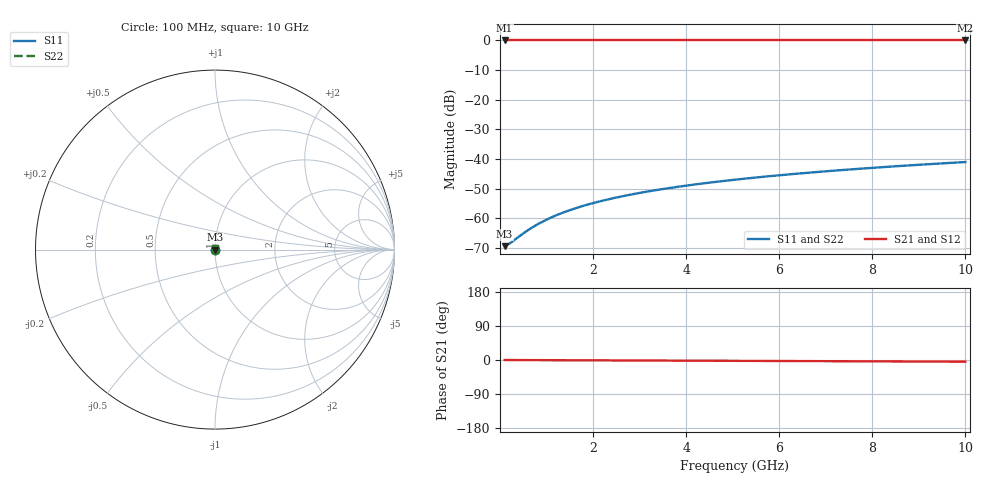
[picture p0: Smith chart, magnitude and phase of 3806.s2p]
# Hz S RI R 50.00
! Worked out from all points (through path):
!   100 points, 100 MHz to 10 GHz, reference 50 ohm
!   highest |S21| = 0.00 dB at 100 MHz (marker M1); lowest = 0.0 dB at 10 GHz (marker M2)
!   lowest |S11| = -69.4 dB at 100 MHz (marker M3), VSWR 1.00, Z = 50 + j0.00881 ohm
!   |S11| at or under -10 dB: start of sweep to end of sweep
!   |S22| runs from -69.4 to -41.0 dB; largest |S21 - S12| = 1e-15
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1e8  0.000325 8.81e-05  0.9997 -0.000768  0.9997 -0.000768  0.000325 8.81e-05
2e8  0.000327 0.000176  0.9997 -0.00154  0.9997 -0.00154  0.000327 0.000176
5e8  0.000332 0.00044  0.9997 -0.00384  0.9997 -0.00384  0.000332 0.00044
6e8  0.000333 0.000528  0.9997 -0.00461  0.9997 -0.00461  0.000333 0.000528
7e8  0.000335 0.000616  0.9996 -0.00537  0.9996 -0.00537  0.000335 0.000616
9e8  0.000338 0.000792  0.9996 -0.00691  0.9996 -0.00691  0.000338 0.000792
1.1e9  0.000341 0.000968  0.9996 -0.00845  0.9996 -0.00845  0.000341 0.000968
1.3e9  0.000345 0.00114  0.9996 -0.00998  0.9996 -0.00998  0.000345 0.00114
1.5e9  0.00035 0.00132  0.9996 -0.0115  0.9996 -0.0115  0.00035 0.00132
1.8e9  0.000357 0.00158  0.9996 -0.0138  0.9996 -0.0138  0.000357 0.00158
2.1e9  0.000365 0.00185  0.9995 -0.0161  0.9995 -0.0161  0.000365 0.00185
2.5e9  0.000378 0.0022  0.9995 -0.0192  0.9995 -0.0192  0.000378 0.0022
2.9e9  0.000394 0.00255  0.9994 -0.0223  0.9994 -0.0223  0.000394 0.00255
3.4e9  0.000415 0.00299  0.9993 -0.0261  0.9993 -0.0261  0.000415 0.00299
3.8e9  0.000435 0.00334  0.9992 -0.0292  0.9992 -0.0292  0.000435 0.00334
4.2e9  0.000457 0.00369  0.9991 -0.0323  0.9991 -0.0323  0.000457 0.00369
5.1e9  0.000514 0.00448  0.9988 -0.0393  0.9988 -0.0393  0.000514 0.00448
5.9e9  0.000575 0.00518  0.9986 -0.0454  0.9986 -0.0454  0.000575 0.00518
6.7e9  0.000644 0.00588  0.9983 -0.0516  0.9983 -0.0516  0.000644 0.00588
7.5e9  0.000722 0.00658  0.9979 -0.0578  0.9979 -0.0578  0.000722 0.00658
8.4e9  0.00082 0.00738  0.9975 -0.0648  0.9975 -0.0648  0.00082 0.00738
1e10  0.00102 0.00881  0.9966 -0.0773  0.9966 -0.0773  0.00102 0.00881
